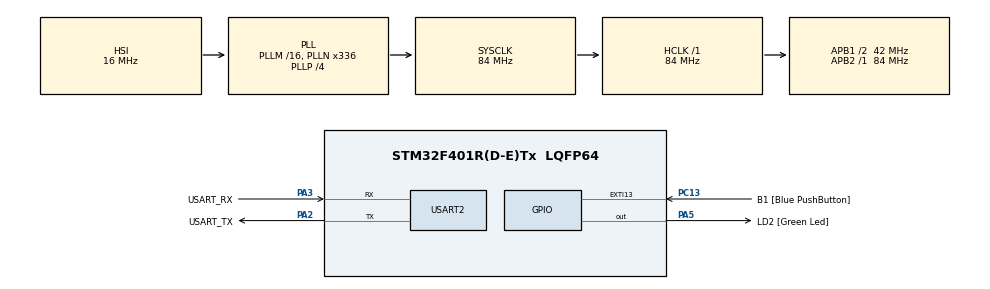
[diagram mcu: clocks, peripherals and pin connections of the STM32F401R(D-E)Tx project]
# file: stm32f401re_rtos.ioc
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FREERTOS.Tasks01=led_task_1,24,128,StartDefaultTask,Default,NULL,Dynamic,NULL,NULL;led_task_2,8,128,StartTask02,Default,NULL,Dynamic,NULL,NULL
Mcu.Family=STM32F4
Mcu.Name=STM32F401R(D-E)Tx
Mcu.Package=LQFP64
NVIC.PriorityGroup=NVIC_PRIORITYGROUP_4
PA13.GPIO_Label=TMS
PA13.Mode=Trace_Asynchronous_SW
PA13.Signal=SYS_JTMS-SWDIO
PA14.GPIO_Label=TCK
PA14.Mode=Trace_Asynchronous_SW
PA14.Signal=SYS_JTCK-SWCLK
PA2.GPIO_Label=USART_TX
PA2.GPIO_Mode=GPIO_MODE_AF_PP
PA2.GPIO_PuPd=GPIO_NOPULL
PA2.GPIO_Speed=GPIO_SPEED_FREQ_LOW
PA2.Mode=Asynchronous
PA2.Signal=USART2_TX
PA3.GPIO_Label=USART_RX
PA3.GPIO_Mode=GPIO_MODE_AF_PP
PA3.GPIO_PuPd=GPIO_NOPULL
PA3.GPIO_Speed=GPIO_SPEED_FREQ_LOW
PA3.Mode=Asynchronous
PA3.Signal=USART2_RX
PA5.GPIO_Label=LD2 [Green Led]
PA5.GPIO_Mode=GPIO_MODE_OUTPUT_PP
PA5.GPIO_PuPd=GPIO_NOPULL
PA5.GPIO_Speed=GPIO_SPEED_FREQ_LOW
PA5.Signal=GPIO_Output
PB3.GPIO_Label=SWO
PB3.Mode=Trace_Asynchronous_SW
PB3.Signal=SYS_JTDO-SWO
PC13-ANTI_TAMP.GPIO_Label=B1 [Blue PushButton]
PC13-ANTI_TAMP.GPIO_ModeDefaultEXTI=GPIO_MODE_IT_FALLING
PC13-ANTI_TAMP.GPIO_PuPd=GPIO_NOPULL
PC13-ANTI_TAMP.Signal=GPXTI13
PC14-OSC32_IN.Mode=LSE-External-Oscillator
PC14-OSC32_IN.Signal=RCC_OSC32_IN
PC15-OSC32_OUT.Mode=LSE-External-Oscillator
PC15-OSC32_OUT.Signal=RCC_OSC32_OUT
PH0\ -\ OSC_IN.Mode=HSE-External-Clock-Source
PH0\ -\ OSC_IN.Signal=RCC_OSC_IN
PH1\ -\ OSC_OUT.Mode=HSE-External-Clock-Source
PH1\ -\ OSC_OUT.Signal=RCC_OSC_OUT
ProjectManager.HeapSize=0x200
ProjectManager.StackSize=0x400
ProjectManager.TargetToolchain=STM32CubeIDE
RCC.48MHZClocksFreq_Value=48000000
RCC.AHBFreq_Value=84000000
RCC.APB1CLKDivider=RCC_HCLK_DIV2
RCC.APB1Freq_Value=42000000
RCC.APB1TimFreq_Value=84000000
RCC.APB2Freq_Value=84000000
RCC.APB2TimFreq_Value=84000000
RCC.CortexFreq_Value=84000000
RCC.HCLKFreq_Value=84000000
RCC.HSE_VALUE=8000000
RCC.HSI_VALUE=16000000
RCC.PLLN=336
RCC.PLLP=RCC_PLLP_DIV4
RCC.PLLQ=7
RCC.SYSCLKFreq_VALUE=84000000
RCC.SYSCLKSource=RCC_SYSCLKSOURCE_PLLCLK
RCC.VCOOutputFreq_Value=336000000
USART2.VirtualMode=VM_ASYNC
VP_FREERTOS_VS_CMSIS_V2.Mode=CMSIS_V2
board=NUCLEO-F401RE

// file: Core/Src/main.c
/* USER CODE BEGIN Header */
/**
  ******************************************************************************
  * @file           : main.c
  * @brief          : Main program body
  ******************************************************************************
  * @attention
  *
  * Copyright (c) 2025 STMicroelectronics.
  * All rights reserved.
  *
  * This software is licensed under terms that can be found in the LICENSE file
  * in the root directory of this software component.
  * If no LICENSE file comes with this software, it is provided AS-IS.
  *
  ******************************************************************************
  */
/* USER CODE END Header */
#include "main.h"
#include "cmsis_os.h"

UART_HandleTypeDef huart2;

/* Definitions for led_task_1 */
osThreadId_t led_task_1Handle;
const osThreadAttr_t led_task_1_attributes = {
  .name = "led_task_1",
  .stack_size = 128 * 4,
  .priority = (osPriority_t) osPriorityNormal,
};
/* Definitions for led_task_2 */
osThreadId_t led_task_2Handle;
const osThreadAttr_t led_task_2_attributes = {
  .name = "led_task_2",
  .stack_size = 128 * 4,
  .priority = (osPriority_t) osPriorityLow,
};
/* USER CODE BEGIN PV */

osMutexId_t uartMutexHandle;
osMessageQueueId_t myQueueHandle;
osSemaphoreId_t buttonSemHandle;

/* USER CODE END PV */

void SystemClock_Config(void);
static void MX_GPIO_Init(void);
static void MX_USART2_UART_Init(void);
void StartDefaultTask(void *argument);
void StartTask02(void *argument);

int main(void)
{

  /* MCU Configuration--------------------------------------------------------*/

  /* Reset of all peripherals, Initializes the Flash interface and the Systick. */
  HAL_Init();

  /* Configure the system clock */
  SystemClock_Config();

  /* Initialize all configured peripherals */
  MX_GPIO_Init();
  MX_USART2_UART_Init();

  /* Init scheduler */
  osKernelInitialize();

  /* USER CODE BEGIN RTOS_MUTEX */

  /* USER CODE BEGIN RTOS_MUTEX */
  const osMutexAttr_t uartMutex_attributes = {
    .name = "uartMutex"
  };
  uartMutexHandle = osMutexNew(&uartMutex_attributes);

  myQueueHandle = osMessageQueueNew(5, sizeof(uint16_t), NULL);

  buttonSemHandle = osSemaphoreNew(1, 0, NULL);
  /* USER CODE END RTOS_MUTEX */

  /* Create the thread(s) */
  /* creation of led_task_1 */
  led_task_1Handle = osThreadNew(StartDefaultTask, NULL, &led_task_1_attributes);

  /* creation of led_task_2 */
  led_task_2Handle = osThreadNew(StartTask02, NULL, &led_task_2_attributes);

  /* Start scheduler */
  osKernelStart();

  /* We should never get here as control is now taken by the scheduler */

  /* Infinite loop */
  while (1)
  {

  }
}

void SystemClock_Config(void)
{
  RCC_OscInitTypeDef RCC_OscInitStruct = {0};
  RCC_ClkInitTypeDef RCC_ClkInitStruct = {0};

  /** Configure the main internal regulator output voltage
  */
  __HAL_RCC_PWR_CLK_ENABLE();
  __HAL_PWR_VOLTAGESCALING_CONFIG(PWR_REGULATOR_VOLTAGE_SCALE2);

  /** Initializes the RCC Oscillators according to the specified parameters
  * in the RCC_OscInitTypeDef structure.
  */
  RCC_OscInitStruct.OscillatorType = RCC_OSCILLATORTYPE_HSI;
  RCC_OscInitStruct.HSIState = RCC_HSI_ON;
  RCC_OscInitStruct.HSICalibrationValue = RCC_HSICALIBRATION_DEFAULT;
  RCC_OscInitStruct.PLL.PLLState = RCC_PLL_ON;
  RCC_OscInitStruct.PLL.PLLSource = RCC_PLLSOURCE_HSI;
  RCC_OscInitStruct.PLL.PLLM = 16;
  RCC_OscInitStruct.PLL.PLLN = 336;
  RCC_OscInitStruct.PLL.PLLP = RCC_PLLP_DIV4;
  RCC_OscInitStruct.PLL.PLLQ = 7;
  if (HAL_RCC_OscConfig(&RCC_OscInitStruct) != HAL_OK)
  {
    Error_Handler();
  }

  /** Initializes the CPU, AHB and APB buses clocks
  */
  RCC_ClkInitStruct.ClockType = RCC_CLOCKTYPE_HCLK|RCC_CLOCKTYPE_SYSCLK
                              |RCC_CLOCKTYPE_PCLK1|RCC_CLOCKTYPE_PCLK2;
  RCC_ClkInitStruct.SYSCLKSource = RCC_SYSCLKSOURCE_PLLCLK;
  RCC_ClkInitStruct.AHBCLKDivider = RCC_SYSCLK_DIV1;
  RCC_ClkInitStruct.APB1CLKDivider = RCC_HCLK_DIV2;
  RCC_ClkInitStruct.APB2CLKDivider = RCC_HCLK_DIV1;

  if (HAL_RCC_ClockConfig(&RCC_ClkInitStruct, FLASH_LATENCY_2) != HAL_OK)
  {
    Error_Handler();
  }
}

static void MX_USART2_UART_Init(void)
{

  huart2.Instance = USART2;
  huart2.Init.BaudRate = 115200;
  huart2.Init.WordLength = UART_WORDLENGTH_8B;
  huart2.Init.StopBits = UART_STOPBITS_1;
  huart2.Init.Parity = UART_PARITY_NONE;
  huart2.Init.Mode = UART_MODE_TX_RX;
  huart2.Init.HwFlowCtl = UART_HWCONTROL_NONE;
  huart2.Init.OverSampling = UART_OVERSAMPLING_16;
  if (HAL_UART_Init(&huart2) != HAL_OK)
  {
    Error_Handler();
  }

}

static void MX_GPIO_Init(void)
{
  GPIO_InitTypeDef GPIO_InitStruct = {0};

  /* GPIO Ports Clock Enable */
  __HAL_RCC_GPIOC_CLK_ENABLE();
  __HAL_RCC_GPIOH_CLK_ENABLE();
  __HAL_RCC_GPIOA_CLK_ENABLE();
  __HAL_RCC_GPIOB_CLK_ENABLE();

  /*Configure GPIO pin Output Level */
  HAL_GPIO_WritePin(LD2_GPIO_Port, LD2_Pin, GPIO_PIN_RESET);

  /*Configure GPIO pin : B1_Pin */
  GPIO_InitStruct.Pin = B1_Pin;
  GPIO_InitStruct.Mode = GPIO_MODE_IT_FALLING;
  GPIO_InitStruct.Pull = GPIO_NOPULL;
  HAL_GPIO_Init(B1_GPIO_Port, &GPIO_InitStruct);

  /*Configure GPIO pin : LD2_Pin */
  GPIO_InitStruct.Pin = LD2_Pin;
  GPIO_InitStruct.Mode = GPIO_MODE_OUTPUT_PP;
  GPIO_InitStruct.Pull = GPIO_NOPULL;
  GPIO_InitStruct.Speed = GPIO_SPEED_FREQ_LOW;
  HAL_GPIO_Init(LD2_GPIO_Port, &GPIO_InitStruct);

  /* EXTI interrupt init*/
  HAL_NVIC_SetPriority(EXTI15_10_IRQn, 5, 0);
  HAL_NVIC_EnableIRQ(EXTI15_10_IRQn);

}

/* USER CODE BEGIN 4 */

void HAL_GPIO_EXTI_Callback(uint16_t GPIO_Pin)
{
    if (GPIO_Pin == GPIO_PIN_13)
    {
        osSemaphoreRelease(buttonSemHandle);   // Signal the task
    }
}

/* USER CODE END 4 */

void StartDefaultTask(void *argument)
{
  /* USER CODE BEGIN 5 */
	  uint16_t msg = 100;   // sample data
  /* Infinite loop */
  for(;;)
  {

//Normal task function

//	  HAL_UART_Transmit(&huart2, "task 1 \n",9,20);
//
//      osDelay(1000);

//Mutex
//      osMutexAcquire(uartMutexHandle, osWaitForever);   // LOCK
//
//      HAL_UART_Transmit(&huart2, (uint8_t*)"task 1 \n", 8, 20);
//
//      osMutexRelease(uartMutexHandle);                 // UNLOCK
//
//      osDelay(1000);

//queue with mutex
	  osMessageQueuePut(myQueueHandle, &msg, 0, 0);  // Send

	    // (OPTIONAL) Debug UART
	    osMutexAcquire(uartMutexHandle, osWaitForever);
	    HAL_UART_Transmit(&huart2, (uint8_t*)"Task1 -> Sent to Queue\n", 23, 100);
	    osMutexRelease(uartMutexHandle);

	    msg++;

	    osDelay(1000);

  }
  /* USER CODE END 5 */
}

void StartTask02(void *argument)
{
  /* USER CODE BEGIN StartTask02 */
	uint16_t rcvData;
  /* Infinite loop */
  for(;;)
  {

//Noramal task
//	  HAL_UART_Transmit(&huart2, "task 2 \n",9,20);
//      osDelay(1000);

//mutex
//      osMutexAcquire(uartMutexHandle, osWaitForever);   // LOCK
//
//      HAL_UART_Transmit(&huart2, (uint8_t*)"task 2 \n", 8, 20);
//
//      osMutexRelease(uartMutexHandle);                 // UNLOCK
//
//      osDelay(1000);

      //queue with mutex
      if (osMessageQueueGet(myQueueHandle, &rcvData, NULL, osWaitForever) == osOK)
      {
          // Protect UART
          osMutexAcquire(uartMutexHandle, osWaitForever);

          char buffer[30];
          int len = sprintf(buffer, "Task2 got: %d\r\n", rcvData);
          HAL_UART_Transmit(&huart2, (uint8_t*)buffer, len, 100);

          osMutexRelease(uartMutexHandle);
      }
      osDelay(10);

//semaphore
	    // Wait until interrupt gives semaphore
	    osSemaphoreAcquire(buttonSemHandle, osWaitForever);

	    // Print message
	    osMutexAcquire(uartMutexHandle, osWaitForever);
	    HAL_UART_Transmit(&huart2, (uint8_t*)"Button Pressed! (Semaphore)\n", 28, 100);

	    osMutexRelease(uartMutexHandle);

	    osDelay(50); // debounce
  }
  /* USER CODE END StartTask02 */
}

void Error_Handler(void)
{
  __disable_irq();
  while (1)
  {
  }
}
